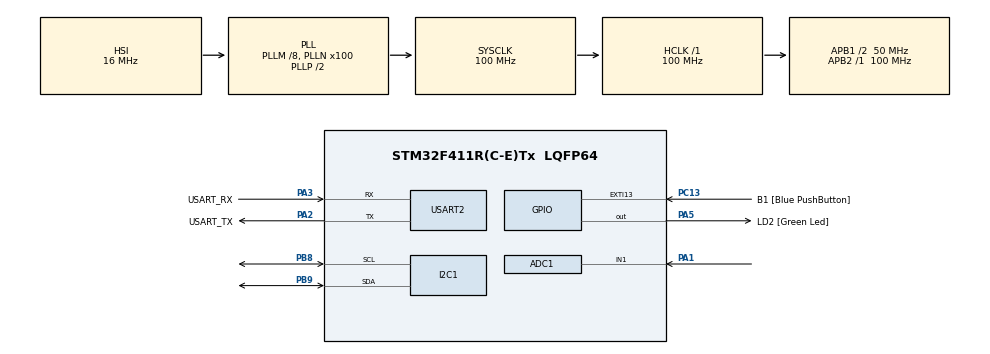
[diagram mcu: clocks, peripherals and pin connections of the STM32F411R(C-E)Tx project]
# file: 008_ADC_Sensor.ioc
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ADC1.Channel-0\#ChannelRegularConversion=ADC_CHANNEL_1
ADC1.ContinuousConvMode=DISABLE
ADC1.NbrOfConversionFlag=1
ADC1.Rank-0\#ChannelRegularConversion=1
ADC1.SamplingTime-0\#ChannelRegularConversion=ADC_SAMPLETIME_3CYCLES
ADC1.master=1
Mcu.Family=STM32F4
Mcu.Name=STM32F411R(C-E)Tx
Mcu.Package=LQFP64
NVIC.PriorityGroup=NVIC_PRIORITYGROUP_0
PA1.Signal=ADCx_IN1
PA13.GPIO_Label=TMS
PA13.Mode=Trace_Asynchronous_SW
PA13.Signal=SYS_JTMS-SWDIO
PA14.GPIO_Label=TCK
PA14.Mode=Trace_Asynchronous_SW
PA14.Signal=SYS_JTCK-SWCLK
PA2.GPIO_Label=USART_TX
PA2.Mode=Asynchronous
PA2.Signal=USART2_TX
PA3.GPIO_Label=USART_RX
PA3.Mode=Asynchronous
PA3.Signal=USART2_RX
PA5.GPIO_Label=LD2 [Green Led]
PA5.Signal=GPIO_Output
PB3.GPIO_Label=SWO
PB3.Mode=Trace_Asynchronous_SW
PB3.Signal=SYS_JTDO-SWO
PB8.GPIO_Pu=GPIO_PULLUP
PB8.Mode=I2C
PB8.Signal=I2C1_SCL
PB9.GPIO_Pu=GPIO_PULLUP
PB9.Mode=I2C
PB9.Signal=I2C1_SDA
PC13-ANTI_TAMP.GPIO_Label=B1 [Blue PushButton]
PC13-ANTI_TAMP.GPIO_ModeDefaultEXTI=GPIO_MODE_IT_FALLING
PC13-ANTI_TAMP.Signal=GPXTI13
PC14-OSC32_IN.Signal=RCC_OSC32_IN
PC15-OSC32_OUT.Signal=RCC_OSC32_OUT
PH0\ -\ OSC_IN.Mode=HSE-External-Oscillator
PH0\ -\ OSC_IN.Signal=RCC_OSC_IN
PH1\ -\ OSC_OUT.Mode=HSE-External-Oscillator
PH1\ -\ OSC_OUT.Signal=RCC_OSC_OUT
ProjectManager.HeapSize=0x200
ProjectManager.StackSize=0x400
ProjectManager.TargetToolchain=STM32CubeIDE
RCC.48MHZClocksFreq_Value=50000000
RCC.AHBFreq_Value=100000000
RCC.APB1CLKDivider=RCC_HCLK_DIV2
RCC.APB1Freq_Value=50000000
RCC.APB1TimFreq_Value=100000000
RCC.APB2Freq_Value=100000000
RCC.APB2TimFreq_Value=100000000
RCC.CortexFreq_Value=100000000
RCC.FLatency-AdvancedSettings=FLASH_LATENCY_3
RCC.HCLKFreq_Value=100000000
RCC.HSE_VALUE=8000000
RCC.HSI_VALUE=16000000
RCC.LSE_VALUE=32768
RCC.PLLM=8
RCC.PLLN=100
RCC.SYSCLKFreq_VALUE=100000000
RCC.SYSCLKSource=RCC_SYSCLKSOURCE_PLLCLK
RCC.VCOOutputFreq_Value=200000000
SH.ADCx_IN1.0=ADC1_IN1,IN1
USART2.VirtualMode=VM_ASYNC
board=NUCLEO-F411RE

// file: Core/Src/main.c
/* USER CODE BEGIN Header */
/**
  ******************************************************************************
  * @file           : main.c
  * @brief          : Main program body
  ******************************************************************************
  * @attention
  *
  * Copyright (c) 2025 STMicroelectronics.
  * All rights reserved.
  *
  * This software is licensed under terms that can be found in the LICENSE file
  * in the root directory of this software component.
  * If no LICENSE file comes with this software, it is provided AS-IS.
  *
  ******************************************************************************
  */
/* USER CODE END Header */
#include "main.h"

/* USER CODE BEGIN Includes */
#include <stdio.h>
#include <string.h>
#include "ssd1306.h"
#include "fonts.h"
/* USER CODE END Includes */

ADC_HandleTypeDef hadc1;

I2C_HandleTypeDef hi2c1;

UART_HandleTypeDef huart2;

void SystemClock_Config(void);
static void MX_GPIO_Init(void);
static void MX_USART2_UART_Init(void);
static void MX_ADC1_Init(void);
static void MX_I2C1_Init(void);
/* USER CODE BEGIN PFP */
float kalman_filter(float input_value);
float calculate_pressure_physics(uint32_t adc_raw);
/* USER CODE END PFP */

/* USER CODE BEGIN 0 */
uint32_t adc_value = 0;
char msg_buffer[64];
char msg_screen_1[16];
char msg_screen_2[16];
char msg_screen_3[16];
uint32_t voltage_mv = 0;

//pressure knowledge
uint32_t pressure_pa =0;
/* USER CODE END 0 */

int main(void)
{

  /* MCU Configuration--------------------------------------------------------*/

  /* Reset of all peripherals, Initializes the Flash interface and the Systick. */
  HAL_Init();

  /* Configure the system clock */
  SystemClock_Config();

  /* Initialize all configured peripherals */
  MX_GPIO_Init();
  MX_USART2_UART_Init();
  MX_ADC1_Init();
  MX_I2C1_Init();
  /* USER CODE BEGIN 2 */
  if(ssd1306_Init(&hi2c1) != 0){
	  Error_Handler();
  }

  /* USER CODE END 2 */

  /* Infinite loop */
  while (1)
  {

    /* USER CODE BEGIN 3 */

	HAL_ADC_Start(&hadc1);

	  if(HAL_ADC_PollForConversion(&hadc1, 100) == HAL_OK){
		  //Read the value and convert to voltage value
		  adc_value = HAL_ADC_GetValue(&hadc1);

		  // 2. PHYSICS STEP: Convert ADC -> Resistance -> Pascals (Noisy)
		  float noisy_pressure = calculate_pressure_physics(adc_value);

		  // 3. FILTER STEP: Smooth the Pascals (Clean)
		  float smooth_pressure = kalman_filter(noisy_pressure);

		  // 4. Prepare Variables for Display
		  // Convert back to integers for %lu formatting
		  pressure_pa = (uint32_t)smooth_pressure;

		  uint32_t voltage_mv = (adc_value * 3300)/4095;

		  uint32_t val_whole = voltage_mv / 1000;  // 1
		  uint32_t val_decimal = voltage_mv % 1000; // 650

		  // 5. Update OLED
		  ssd1306_Fill(Black);

		  // Line 1: Raw Voltage (Good for debugging connection)
		  sprintf(msg_screen_2, "Volt: %lu.%03lu V", val_whole, val_decimal);
		  ssd1306_SetCursor(0, 0);
		  ssd1306_WriteString(msg_screen_2, Font_7x10, White);

		  // Line 2: The Filtered Pressure
		  sprintf(msg_screen_3, "Pres: %lu Pa", pressure_pa);
		  ssd1306_SetCursor(0, 20); // Moved down slightly for visibility
		  ssd1306_WriteString(msg_screen_3, Font_7x10, White); // Bigger font if available

		  ssd1306_UpdateScreen(&hi2c1);

		  // UART Debugging (Optional)
		  int len = sprintf(msg_buffer, "RawADC: %lu | Pressure: %lu Pa\r\n", adc_value, pressure_pa);
		  HAL_UART_Transmit(&huart2, (uint8_t *)msg_buffer, len, 100);
	  }
	  HAL_Delay(50);
  }
  /* USER CODE END 3 */
}

void SystemClock_Config(void)
{
  RCC_OscInitTypeDef RCC_OscInitStruct = {0};
  RCC_ClkInitTypeDef RCC_ClkInitStruct = {0};

  /** Configure the main internal regulator output voltage
  */
  __HAL_RCC_PWR_CLK_ENABLE();
  __HAL_PWR_VOLTAGESCALING_CONFIG(PWR_REGULATOR_VOLTAGE_SCALE1);

  /** Initializes the RCC Oscillators according to the specified parameters
  * in the RCC_OscInitTypeDef structure.
  */
  RCC_OscInitStruct.OscillatorType = RCC_OSCILLATORTYPE_HSI;
  RCC_OscInitStruct.HSIState = RCC_HSI_ON;
  RCC_OscInitStruct.HSICalibrationValue = RCC_HSICALIBRATION_DEFAULT;
  RCC_OscInitStruct.PLL.PLLState = RCC_PLL_ON;
  RCC_OscInitStruct.PLL.PLLSource = RCC_PLLSOURCE_HSI;
  RCC_OscInitStruct.PLL.PLLM = 8;
  RCC_OscInitStruct.PLL.PLLN = 100;
  RCC_OscInitStruct.PLL.PLLP = RCC_PLLP_DIV2;
  RCC_OscInitStruct.PLL.PLLQ = 4;
  if (HAL_RCC_OscConfig(&RCC_OscInitStruct) != HAL_OK)
  {
    Error_Handler();
  }

  /** Initializes the CPU, AHB and APB buses clocks
  */
  RCC_ClkInitStruct.ClockType = RCC_CLOCKTYPE_HCLK|RCC_CLOCKTYPE_SYSCLK
                              |RCC_CLOCKTYPE_PCLK1|RCC_CLOCKTYPE_PCLK2;
  RCC_ClkInitStruct.SYSCLKSource = RCC_SYSCLKSOURCE_PLLCLK;
  RCC_ClkInitStruct.AHBCLKDivider = RCC_SYSCLK_DIV1;
  RCC_ClkInitStruct.APB1CLKDivider = RCC_HCLK_DIV2;
  RCC_ClkInitStruct.APB2CLKDivider = RCC_HCLK_DIV1;

  if (HAL_RCC_ClockConfig(&RCC_ClkInitStruct, FLASH_LATENCY_3) != HAL_OK)
  {
    Error_Handler();
  }
}

static void MX_ADC1_Init(void)
{

  ADC_ChannelConfTypeDef sConfig = {0};

  /** Configure the global features of the ADC (Clock, Resolution, Data Alignment and number of conversion)
  */
  hadc1.Instance = ADC1;
  hadc1.Init.ClockPrescaler = ADC_CLOCK_SYNC_PCLK_DIV4;
  hadc1.Init.Resolution = ADC_RESOLUTION_12B;
  hadc1.Init.ScanConvMode = DISABLE;
  hadc1.Init.ContinuousConvMode = DISABLE;
  hadc1.Init.DiscontinuousConvMode = DISABLE;
  hadc1.Init.ExternalTrigConvEdge = ADC_EXTERNALTRIGCONVEDGE_NONE;
  hadc1.Init.ExternalTrigConv = ADC_SOFTWARE_START;
  hadc1.Init.DataAlign = ADC_DATAALIGN_RIGHT;
  hadc1.Init.NbrOfConversion = 1;
  hadc1.Init.DMAContinuousRequests = DISABLE;
  hadc1.Init.EOCSelection = ADC_EOC_SINGLE_CONV;
  if (HAL_ADC_Init(&hadc1) != HAL_OK)
  {
    Error_Handler();
  }

  /** Configure for the selected ADC regular channel its corresponding rank in the sequencer and its sample time.
  */
  sConfig.Channel = ADC_CHANNEL_1;
  sConfig.Rank = 1;
  sConfig.SamplingTime = ADC_SAMPLETIME_3CYCLES;
  if (HAL_ADC_ConfigChannel(&hadc1, &sConfig) != HAL_OK)
  {
    Error_Handler();
  }

}

static void MX_I2C1_Init(void)
{

  hi2c1.Instance = I2C1;
  hi2c1.Init.ClockSpeed = 100000;
  hi2c1.Init.DutyCycle = I2C_DUTYCYCLE_2;
  hi2c1.Init.OwnAddress1 = 0;
  hi2c1.Init.AddressingMode = I2C_ADDRESSINGMODE_7BIT;
  hi2c1.Init.DualAddressMode = I2C_DUALADDRESS_DISABLE;
  hi2c1.Init.OwnAddress2 = 0;
  hi2c1.Init.GeneralCallMode = I2C_GENERALCALL_DISABLE;
  hi2c1.Init.NoStretchMode = I2C_NOSTRETCH_DISABLE;
  if (HAL_I2C_Init(&hi2c1) != HAL_OK)
  {
    Error_Handler();
  }

}

static void MX_USART2_UART_Init(void)
{

  huart2.Instance = USART2;
  huart2.Init.BaudRate = 115200;
  huart2.Init.WordLength = UART_WORDLENGTH_8B;
  huart2.Init.StopBits = UART_STOPBITS_1;
  huart2.Init.Parity = UART_PARITY_NONE;
  huart2.Init.Mode = UART_MODE_TX_RX;
  huart2.Init.HwFlowCtl = UART_HWCONTROL_NONE;
  huart2.Init.OverSampling = UART_OVERSAMPLING_16;
  if (HAL_UART_Init(&huart2) != HAL_OK)
  {
    Error_Handler();
  }

}

static void MX_GPIO_Init(void)
{
  GPIO_InitTypeDef GPIO_InitStruct = {0};

  /* GPIO Ports Clock Enable */
  __HAL_RCC_GPIOC_CLK_ENABLE();
  __HAL_RCC_GPIOH_CLK_ENABLE();
  __HAL_RCC_GPIOA_CLK_ENABLE();
  __HAL_RCC_GPIOB_CLK_ENABLE();

  /*Configure GPIO pin Output Level */
  HAL_GPIO_WritePin(LD2_GPIO_Port, LD2_Pin, GPIO_PIN_RESET);

  /*Configure GPIO pin : B1_Pin */
  GPIO_InitStruct.Pin = B1_Pin;
  GPIO_InitStruct.Mode = GPIO_MODE_IT_FALLING;
  GPIO_InitStruct.Pull = GPIO_NOPULL;
  HAL_GPIO_Init(B1_GPIO_Port, &GPIO_InitStruct);

  /*Configure GPIO pin : LD2_Pin */
  GPIO_InitStruct.Pin = LD2_Pin;
  GPIO_InitStruct.Mode = GPIO_MODE_OUTPUT_PP;
  GPIO_InitStruct.Pull = GPIO_NOPULL;
  GPIO_InitStruct.Speed = GPIO_SPEED_FREQ_LOW;
  HAL_GPIO_Init(LD2_GPIO_Port, &GPIO_InitStruct);

}

/* USER CODE BEGIN 4 */
float calculate_pressure_physics(uint32_t adc_raw){
	// 1. Constants
	const float VCC = 3.3;          // System voltage
	const float R_FIXED = 2000.0;  // 2k resistor
	const float AREA = 0.00188;     // 18.8 cm^2 in m^2

	// CALIBRATION FACTOR 'k'
	// Increase this if pressure is too low, decrease if too high.
	// Ideally found by: (Known_Weight_N * Resistance_at_Weight)
	const float k_calibration = 1.0;

	// 2. Avoid division by zero
	if(adc_raw >= 4090) return 0.0;
	if(adc_raw == 0) adc_raw =1;

	// 3. Convert ADC to Voltage
	float voltage = (adc_raw * VCC) / 4095.0;

	// 4. Calculate Resistance for PULL-UP Configuration
	// In Pull-Up: Voltage drops as Resistance drops.
	float r_sensor = R_FIXED * (voltage / (VCC - voltage));

	// 5. Calculate Force (F = k / R)
	// As r_sensor gets smaller (pressed), force gets bigger.
	float force_newtons = k_calibration / (r_sensor / 2000.0); // Scaled by 2k for stability

	// 6. Calculate Pressure (P = F / A)
	float pressure_pa = force_newtons / AREA;

	return pressure_pa;
}

float kalman_filter(float input_value)
{
	static float x_est = 0;
	static float P = 1.0;
	static const float Q = 10.0;  // Process noise (Pressure can change fast)
	static const float R = 100.0; // Sensor noise (Foam is very noisy!)

	float Kg;

	// Prediction
	P = P + Q;

	// Update
	Kg = P / (P + R);
	x_est = x_est + Kg * (input_value - x_est);
	P = (1 - Kg) * P;

	return x_est;
}
/* USER CODE END 4 */

void Error_Handler(void)
{
  __disable_irq();
  while (1)
  {
  }
}
